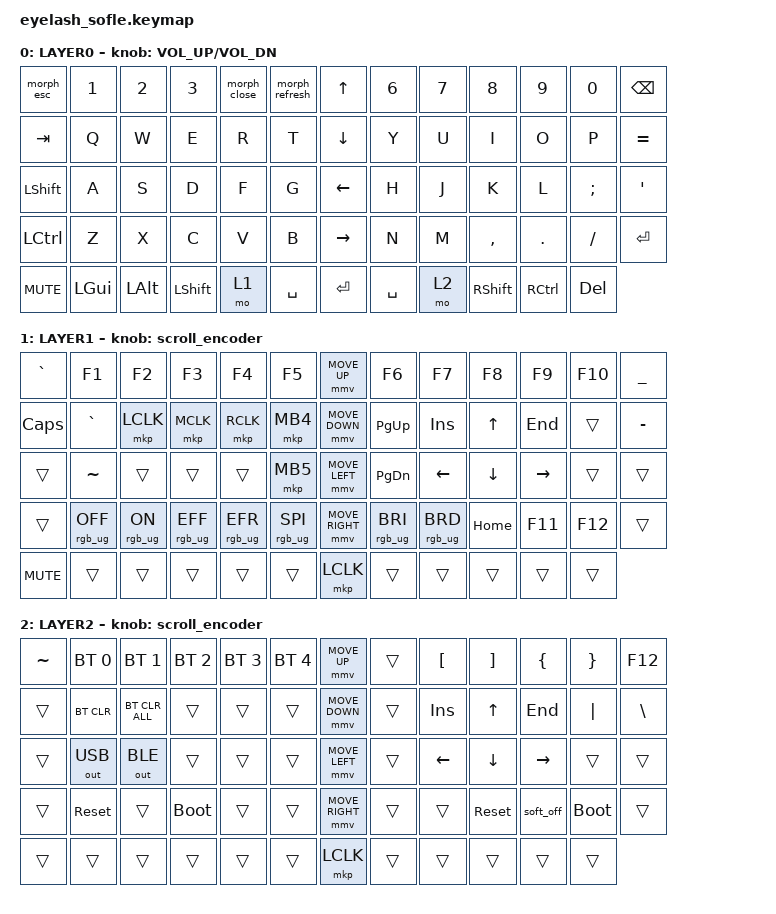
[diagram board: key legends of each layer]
#include <behaviors.dtsi>
#include <dt-bindings/zmk/bt.h>
#include <dt-bindings/zmk/keys.h>
#include <dt-bindings/zmk/mouse.h>
#include <dt-bindings/zmk/outputs.h>
#include <dt-bindings/zmk/rgb.h>

#include <input/processors.dtsi>

/*

   &mmv_input_listener {
       input-processors = <&zip_xy_scaler 2 1>;
   };

   &msc_input_listener {
       input-processors = <&zip_xy_scaler 2 1>;
   };

 */

#define ZMK_MOUSE_DEFAULT_MOVE_VAL 1200  // 600
#define ZMK_MOUSE_DEFAULT_SCRL_VAL 20    // 10


/ {
    behaviors {
        mmv {
            acceleration-exponent = <1>;      // 1
            time-to-max-speed-ms = <900>;    // 40
            delay-ms = <0>;                   // 0
        };

        msc {
            acceleration-exponent = <1>;      // 0
            time-to-max-speed-ms = <400>;      // 500
            delay-ms = <0>;                   //   10
        };

        morph_close: morph_close {
            compatible = "zmk,behavior-mod-morph";
            #binding-cells = <0>;
            bindings = <&kp N4>, <&kp F4>;
            mods = <(MOD_LALT)>;
            keep-mods = <(MOD_LALT)>;
        };

        morph_refresh: morph_refresh {
            compatible = "zmk,behavior-mod-morph";
            #binding-cells = <0>;
            bindings = <&kp N5>, <&kp F5>;
            mods = <(MOD_LCTL)>;
            keep-mods = <(MOD_LCTL)>;
        };
        
        morph_esc: morph_esc {
            compatible = "zmk,behavior-mod-morph";
            #binding-cells = <0>;
            bindings = <&kp ESC>, <&kp TAB>;
            mods = <(MOD_LCTL|MOD_RCTL)>;
            keep-mods = <(MOD_LCTL|MOD_RCTL)>;
        };
    };

    scroll_encoder: scroll_encoder {
        compatible = "zmk,behavior-sensor-rotate";
        #sensor-binding-cells = <0>;
        bindings = <&msc SCRL_DOWN>, <&msc SCRL_UP>;

        tap-ms = <30>;
    };

    keymap {
        compatible = "zmk,keymap";

        layer0 {
            bindings = <
&morph_esc  &kp N1        &kp N2        &kp N3     &morph_close  &morph_refresh  &kp UP_ARROW     &kp N6     &kp N7     &kp N8      &kp N9     &kp N0      &kp BACKSPACE
&kp TAB     &kp Q         &kp W         &kp E      &kp R         &kp T           &kp DOWN_ARROW   &kp Y      &kp U      &kp I       &kp O      &kp P       &kp EQUAL
&kp LSHFT   &kp A         &kp S         &kp D      &kp F         &kp G           &kp LEFT_ARROW   &kp H      &kp J      &kp K       &kp L      &kp SEMI    &kp APOS
&kp LCTRL   &kp Z         &kp X         &kp C      &kp V         &kp B           &kp RIGHT_ARROW  &kp N      &kp M      &kp COMMA   &kp DOT    &kp FSLH    &kp ENTER
&kp C_MUTE  &kp LEFT_GUI  &kp LALT      &kp LSHFT  &mo 1         &kp SPACE       &kp ENTER        &kp SPACE  &mo 2      &kp RSHFT   &kp RCTRL  &kp DELETE
            >;

            sensor-bindings = <&inc_dec_kp C_VOLUME_UP C_VOL_DN>;
            display-name = "LAYER0";
        };

        layer_1 {
            bindings = <
&kp GRAVE   &kp F1           &kp F2          &kp F3           &kp F4           &kp F5             &mmv MOVE_UP     &kp F6           &kp F7           &kp F8      &kp F9     &kp F10  &kp UNDER
&kp CAPS    &kp GRAVE        &mkp LCLK       &mkp MCLK        &mkp RCLK        &mkp MB4           &mmv MOVE_DOWN   &kp PG_UP        &kp INSERT       &kp UP      &kp END    &trans   &kp MINUS
&trans      &kp TILDE        &trans          &trans           &trans           &mkp MB5           &mmv MOVE_LEFT   &kp PG_DN        &kp LEFT         &kp DOWN    &kp RIGHT  &trans   &trans
&trans      &rgb_ug RGB_OFF  &rgb_ug RGB_ON  &rgb_ug RGB_EFF  &rgb_ug RGB_EFR  &rgb_ug RGB_SPI    &mmv MOVE_RIGHT  &rgb_ug RGB_BRI  &rgb_ug RGB_BRD  &kp HOME    &kp F11    &kp F12  &trans
&kp C_MUTE  &trans           &trans          &trans           &trans           &trans             &mkp LCLK        &trans           &trans           &trans      &trans     &trans
            >;

            display-name = "LAYER1";
            sensor-bindings = <&scroll_encoder>;
        };

        layer_2 {
            bindings = <
&kp TILDE  &bt BT_SEL 0  &bt BT_SEL 1    &bt BT_SEL 2  &bt BT_SEL 3  &bt BT_SEL 4    &mmv MOVE_UP     &trans  &kp LEFT_BRACKET  &kp RIGHT_BRACKET   &kp LBRC   &kp RBRC     &kp F12
&trans     &bt BT_CLR    &bt BT_CLR_ALL  &trans        &trans        &trans          &mmv MOVE_DOWN   &trans  &kp INSERT        &kp UP              &kp END    &kp PIPE     &kp BSLH
&trans     &out OUT_USB  &out OUT_BLE    &trans        &trans        &trans          &mmv MOVE_LEFT   &trans  &kp LEFT          &kp DOWN            &kp RIGHT  &trans       &trans
&trans     &sys_reset    &trans          &bootloader   &trans        &trans          &mmv MOVE_RIGHT  &trans  &trans            &sys_reset          &soft_off  &bootloader  &trans
&trans     &trans        &trans          &trans        &trans        &trans          &mkp LCLK        &trans  &trans            &trans              &trans     &trans
            >;

            display-name = "LAYER2";
            sensor-bindings = <&scroll_encoder>;
        };
    };
};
